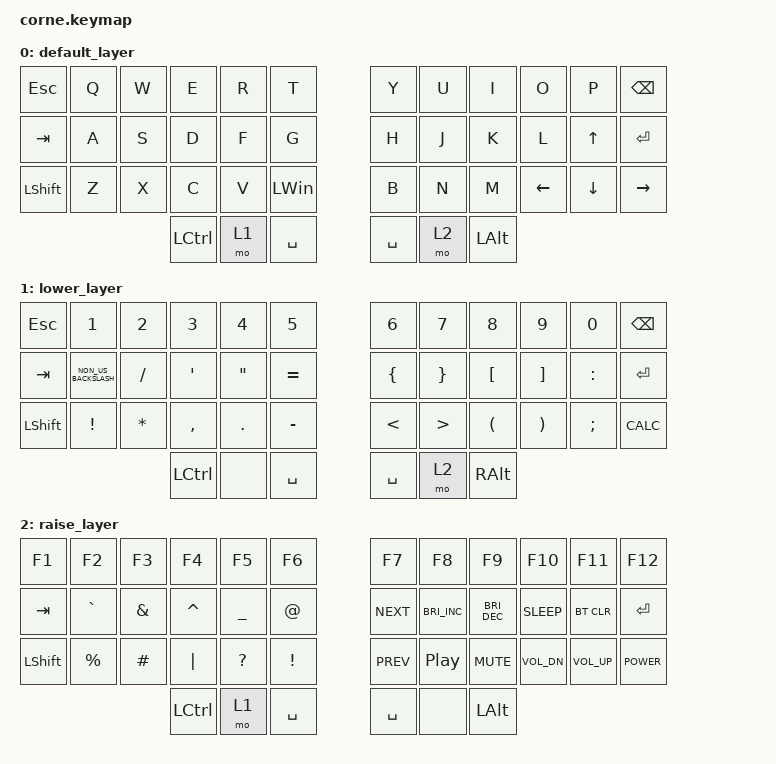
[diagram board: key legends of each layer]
/*
 * Copyright (c) 2020 The ZMK Contributors
 *
 * SPDX-License-Identifier: MIT
 */

#include <behaviors.dtsi>
#include <dt-bindings/zmk/bt.h>
#include <dt-bindings/zmk/keys.h>

/ {
    keymap {
        compatible = "zmk,keymap";

        default_layer {
            // -----------------------------------------------------------------------------------------
            // |  TAB |  Q  |  W  |  E  |  R  |  T  |   |  Y  |  U   |  I  |  O  |  P  | BKSP |
            // | CTRL |  A  |  S  |  D  |  F  |  G  |   |  H  |  J   |  K  |  L  |  ;  |  '   |
            // | SHFT |  Z  |  X  |  C  |  V  |  B  |   |  N  |  M   |  ,  |  .  |  /  | ESC  |
            //                    | GUI | LWR | SPC |   | ENT | RSE  | ALT |

            bindings = <
&kp ESC    &kp Q  &kp W  &kp E             &kp R  &kp T           &kp Y      &kp U  &kp I         &kp O           &kp P         &kp BSPC
&kp TAB    &kp A  &kp S  &kp D             &kp F  &kp G           &kp H      &kp J  &kp K         &kp L           &kp UP_ARROW  &kp ENTER
&kp LSHFT  &kp Z  &kp X  &kp C             &kp V  &kp LEFT_WIN    &kp B      &kp N  &kp M         &kp LEFT_ARROW  &kp DOWN      &kp RIGHT_ARROW
                         &kp LEFT_CONTROL  &mo 1  &kp SPACE       &kp SPACE  &mo 2  &kp LEFT_ALT
            >;
        };

        lower_layer {
            // -----------------------------------------------------------------------------------------
            // |  TAB |  1  |  2  |  3  |  4  |  5  |   |  6  |  7  |  8  |  9  |  0  | BKSP |
            // | BTCLR| BT1 | BT2 | BT3 | BT4 | BT5 |   | LFT | DWN |  UP | RGT |     |      |
            // | SHFT |     |     |     |     |     |   |     |     |     |     |     |      |
            //                    | GUI |     | SPC |   | ENT |     | ALT |

            bindings = <
&kp ESCAPE  &kp N1                &kp N2        &kp N3            &kp N4             &kp N5       &kp N6          &kp N7            &kp N8                &kp N9                 &kp N0     &kp BSPC
&kp TAB     &kp NON_US_BACKSLASH  &kp SLASH     &kp SQT           &kp DOUBLE_QUOTES  &kp EQUAL    &kp LEFT_BRACE  &kp RIGHT_BRACE   &kp LEFT_BRACKET      &kp RIGHT_BRACKET      &kp COLON  &kp ENTER
&kp LSHFT   &kp EXCLAMATION       &kp ASTERISK  &kp COMMA         &kp PERIOD         &kp MINUS    &kp LESS_THAN   &kp GREATER_THAN  &kp LEFT_PARENTHESIS  &kp RIGHT_PARENTHESIS  &kp SEMI   &kp K_CALC
                                                &kp LEFT_CONTROL  &none              &kp SPACE    &kp SPACE       &mo 2             &kp RALT
            >;
        };

        raise_layer {
            // -----------------------------------------------------------------------------------------
            // |  TAB |  !  |  @  |  #  |  $  |  %  |   |  ^  |  &  |  *  |  (  |  )  | BKSP |
            // | CTRL |     |     |     |     |     |   |  -  |  =  |  [  |  ]  |  \  |  `   |
            // | SHFT |     |     |     |     |     |   |  _  |  +  |  {  |  }  | "|" |  ~   |
            //                    | GUI |     | SPC |   | ENT |     | ALT |

            bindings = <
&kp F1     &kp F2       &kp F3         &kp F4            &kp F5          &kp F6             &kp F7      &kp F8                &kp F9         &kp F10       &kp F11          &kp F12
&kp TAB    &kp GRAVE    &kp AMPERSAND  &kp CARET         &kp UNDERSCORE  &kp AT_SIGN        &kp C_NEXT  &kp C_BRIGHTNESS_INC  &kp C_BRI_DEC  &kp C_SLEEP   &bt BT_CLR       &kp ENTER
&kp LSHFT  &kp PERCENT  &kp POUND      &kp PIPE          &kp QUESTION    &kp EXCLAMATION    &kp K_PREV  &kp C_PP              &kp C_MUTE     &kp C_VOL_DN  &kp C_VOLUME_UP  &kp C_POWER
                                       &kp LEFT_CONTROL  &mo 1           &kp SPACE          &kp SPACE   &none                 &kp LEFT_ALT
            >;
        };
    };
};
